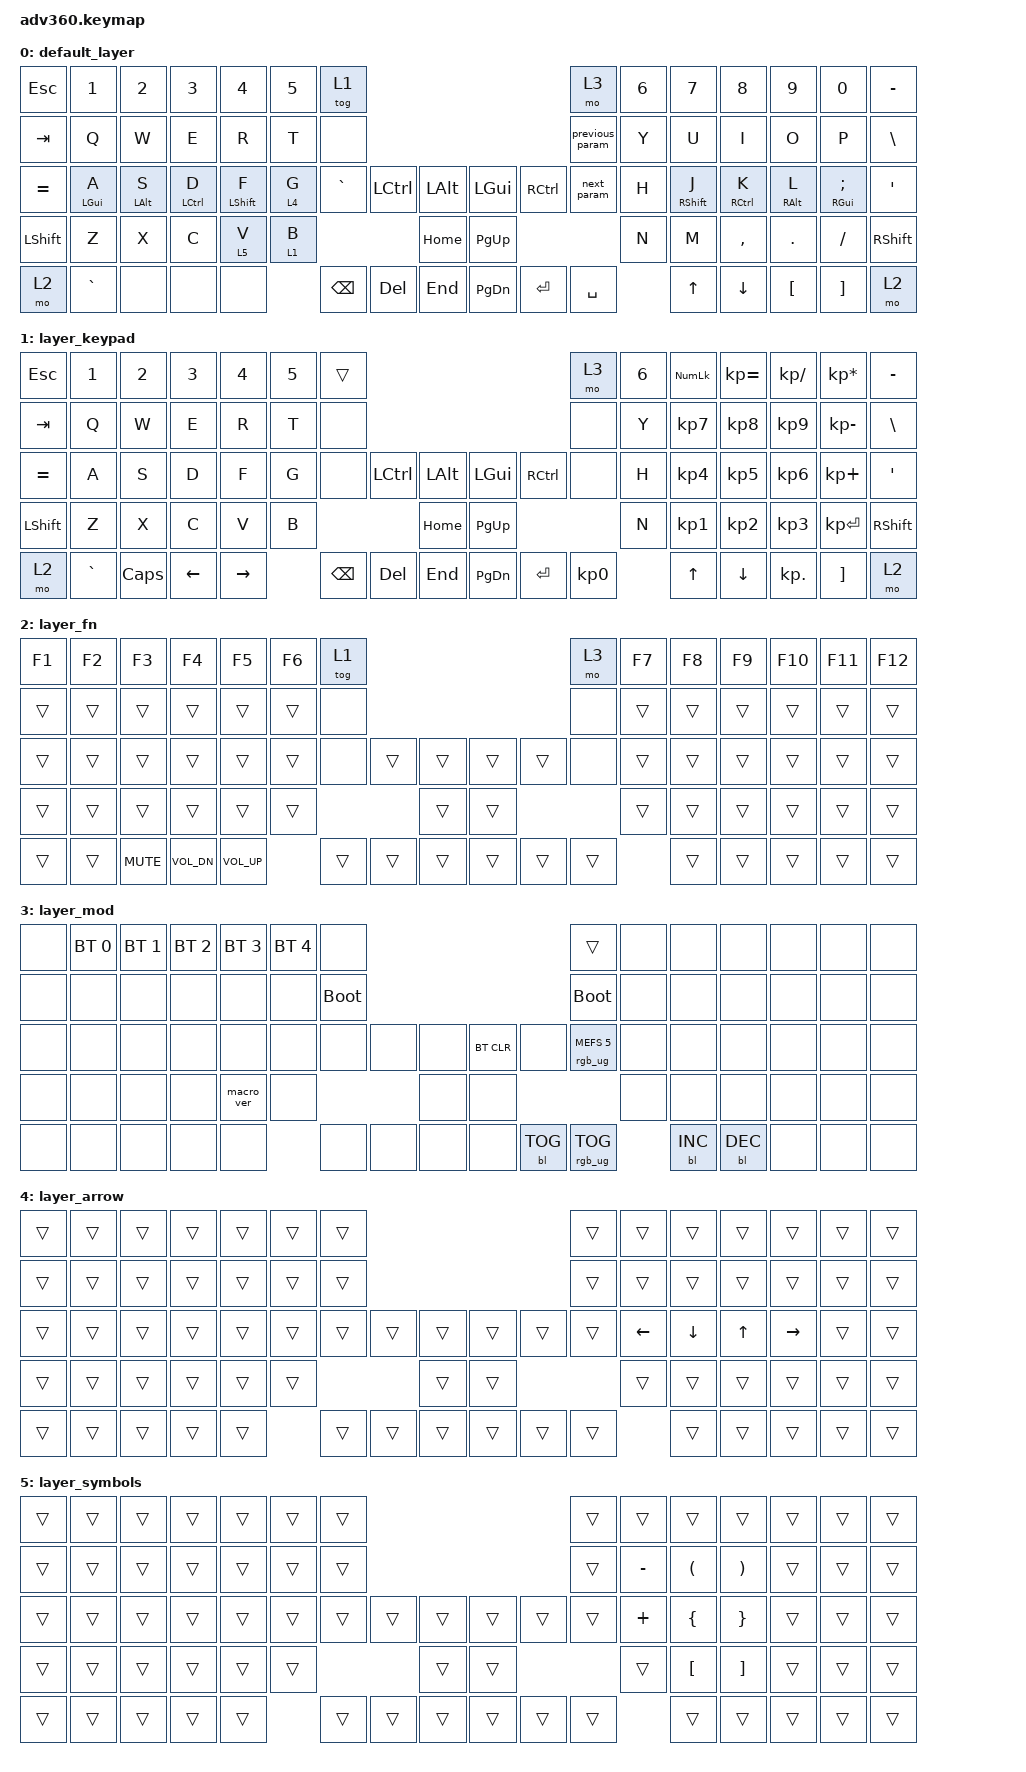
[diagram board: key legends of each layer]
/*
 * Copyright (c) 2020 The ZMK Contributors
 *
 * SPDX-License-Identifier: MIT
 */
/* THIS FILE WAS GENERATED!
 *
 * This file was generated automatically. You may or may not want to
 * edit it directly.
 */

#include <behaviors.dtsi>
#include <dt-bindings/zmk/backlight.h>
#include <dt-bindings/zmk/bt.h>
#include <dt-bindings/zmk/keys.h>
#include <dt-bindings/zmk/rgb.h>

/ {
    behaviors {
        #include "macros.dtsi"
    #include "version.dtsi"

        hm: homerow_mods {
            compatible = "zmk,behavior-hold-tap";
            label = "HOMEROW_MODS";
            #binding-cells = <2>;
            tapping-term-ms = <200>;
            quick_tap_ms = <175>;
            flavor = "tap-preferred";
            bindings = <&kp>, <&kp>;
        };
    };

    macros {
        next_param: next_param {
            compatible = "zmk,behavior-macro";
            #binding-cells = <0>;
            bindings = <&kp RIGHT_BRACKET &kp P>;
            label = "NEXT_PARAM";
        };

        previous_param: previous_param {
            compatible = "zmk,behavior-macro";
            #binding-cells = <0>;
            bindings = <&kp LEFT_BRACKET &kp P>;
            label = "PREVIOUS_PARAM";
        };
    };

    combos {
        compatible = "zmk,combos";

        caps_lock {
            bindings = <&caps_word>;
            key-positions = <32 41>;
        };

        left-parenthesis {
            bindings = <&kp LEFT_PARENTHESIS>;
            key-positions = <23 24>;
        };

        right-parenthesis {
            bindings = <&kp RIGHT_PARENTHESIS>;
            key-positions = <24 25>;
        };

        left-bracket {
            bindings = <&kp LEFT_BRACKET>;
            key-positions = <56 55>;
        };

        right-bracket {
            bindings = <&kp RIGHT_BRACKET>;
            key-positions = <56 57>;
        };

        left-brace {
            bindings = <&kp LEFT_BRACE>;
            key-positions = <41 42>;
        };

        right-brace {
            bindings = <&kp RIGHT_BRACE>;
            key-positions = <42 43>;
        };

        left-chevron {
            bindings = <&kp LESS_THAN>;
            key-positions = <71 72>;
        };

        right-chevron {
            bindings = <&kp GREATER_THAN>;
            key-positions = <72 73>;
        };
    };

    keymap {
        compatible = "zmk,keymap";

        default_layer {
            bindings = <
&kp ESC    &kp N1          &kp N2          &kp N3       &kp N4            &kp N5   &tog 1                                                    &mo 3            &kp N6  &kp N7             &kp N8       &kp N9           &kp N0              &kp MINUS
&kp TAB    &kp Q           &kp W           &kp E        &kp R             &kp T    &none                                                     &previous_param  &kp Y   &kp U              &kp I        &kp O            &kp P               &kp BSLH
&kp EQUAL  &hm LEFT_GUI A  &hm LEFT_ALT S  &hm LCTRL D  &hm LEFT_SHIFT F  &lt 4 G  &kp GRAVE  &kp LCTRL  &kp LALT      &kp LGUI   &kp RCTRL  &next_param      &kp H   &hm RIGHT_SHIFT J  &hm RCTRL K  &hm RIGHT_ALT L  &hm RIGHT_GUI SEMI  &kp SQT
&kp LSHFT  &kp Z           &kp X           &kp C        &lt 5 V           &lt 1 B                        &kp HOME      &kp PG_UP                              &kp N   &kp M              &kp COMMA    &kp DOT          &kp FSLH            &kp RSHFT
&mo 2      &kp GRAVE       &none           &none        &none                      &kp BSPC   &kp DEL    &kp END       &kp PG_DN  &kp ENTER  &kp SPACE                &kp UP             &kp DOWN     &kp LBKT         &kp RBKT            &mo 2
            >;
        };

        layer_keypad {
            bindings = <
&kp ESC    &kp N1     &kp N2    &kp N3    &kp N4     &kp N5  &trans                                                   &mo 3      &kp N6  &kp KP_NUM  &kp KP_EQUAL  &kp KP_DIVIDE  &kp KP_MULTIPLY  &kp MINUS
&kp TAB    &kp Q      &kp W     &kp E     &kp R      &kp T   &none                                                    &none      &kp Y   &kp KP_N7   &kp KP_N8     &kp KP_N9      &kp KP_MINUS     &kp BSLH
&kp EQUAL  &kp A      &kp S     &kp D     &kp F      &kp G   &none     &kp LCTRL  &kp LALT      &kp LGUI   &kp RCTRL  &none      &kp H   &kp KP_N4   &kp KP_N5     &kp KP_N6      &kp KP_PLUS      &kp SQT
&kp LSHFT  &kp Z      &kp X     &kp C     &kp V      &kp B                        &kp HOME      &kp PG_UP                        &kp N   &kp KP_N1   &kp KP_N2     &kp KP_N3      &kp KP_ENTER     &kp RSHFT
&mo 2      &kp GRAVE  &kp CAPS  &kp LEFT  &kp RIGHT          &kp BSPC  &kp DEL    &kp END       &kp PG_DN  &kp ENTER  &kp KP_N0          &kp UP      &kp DOWN      &kp KP_DOT     &kp RBKT         &mo 2
            >;
        };

        layer_fn {
            bindings = <
&kp F1  &kp F2  &kp F3      &kp F4        &kp F5        &kp F6  &tog 1                                      &mo 3   &kp F7  &kp F8  &kp F9  &kp F10  &kp F11  &kp F12
&trans  &trans  &trans      &trans        &trans        &trans  &none                                       &none   &trans  &trans  &trans  &trans   &trans   &trans
&trans  &trans  &trans      &trans        &trans        &trans  &none   &trans  &trans      &trans  &trans  &none   &trans  &trans  &trans  &trans   &trans   &trans
&trans  &trans  &trans      &trans        &trans        &trans                  &trans      &trans                  &trans  &trans  &trans  &trans   &trans   &trans
&trans  &trans  &kp C_MUTE  &kp C_VOL_DN  &kp C_VOL_UP          &trans  &trans  &trans      &trans  &trans  &trans          &trans  &trans  &trans   &trans   &trans
            >;
        };

        layer_mod {
            bindings = <
&none  &bt BT_SEL 0  &bt BT_SEL 1  &bt BT_SEL 2  &bt BT_SEL 3  &bt BT_SEL 4  &none                                                  &trans                  &none  &none       &none       &none  &none  &none
&none  &none         &none         &none         &none         &none         &bootloader                                            &bootloader             &none  &none       &none       &none  &none  &none
&none  &none         &none         &none         &none         &none         &none        &none  &none      &bt BT_CLR  &none       &rgb_ug RGB_MEFS_CMD 5  &none  &none       &none       &none  &none  &none
&none  &none         &none         &none         &macro_ver    &none                             &none      &none                                           &none  &none       &none       &none  &none  &none
&none  &none         &none         &none         &none                       &none        &none  &none      &none       &bl BL_TOG  &rgb_ug RGB_TOG                &bl BL_INC  &bl BL_DEC  &none  &none  &none
            >;
        };

        layer_arrow {
            bindings = <
&trans  &trans  &trans  &trans  &trans  &trans  &trans                                      &trans  &trans          &trans          &trans        &trans           &trans  &trans
&trans  &trans  &trans  &trans  &trans  &trans  &trans                                      &trans  &trans          &trans          &trans        &trans           &trans  &trans
&trans  &trans  &trans  &trans  &trans  &trans  &trans  &trans  &trans      &trans  &trans  &trans  &kp LEFT_ARROW  &kp DOWN_ARROW  &kp UP_ARROW  &kp RIGHT_ARROW  &trans  &trans
&trans  &trans  &trans  &trans  &trans  &trans                  &trans      &trans                  &trans          &trans          &trans        &trans           &trans  &trans
&trans  &trans  &trans  &trans  &trans          &trans  &trans  &trans      &trans  &trans  &trans                  &trans          &trans        &trans           &trans  &trans
            >;
        };

        layer_symbols {
            bindings = <
&trans  &trans  &trans  &trans  &trans  &trans  &trans                                      &trans  &trans     &trans                &trans                 &trans  &trans  &trans
&trans  &trans  &trans  &trans  &trans  &trans  &trans                                      &trans  &kp MINUS  &kp LEFT_PARENTHESIS  &kp RIGHT_PARENTHESIS  &trans  &trans  &trans
&trans  &trans  &trans  &trans  &trans  &trans  &trans  &trans  &trans      &trans  &trans  &trans  &kp PLUS   &kp LEFT_BRACE        &kp RIGHT_BRACE        &trans  &trans  &trans
&trans  &trans  &trans  &trans  &trans  &trans                  &trans      &trans                  &trans     &kp LEFT_BRACKET      &kp RIGHT_BRACKET      &trans  &trans  &trans
&trans  &trans  &trans  &trans  &trans          &trans  &trans  &trans      &trans  &trans  &trans             &trans                &trans                 &trans  &trans  &trans
            >;
        };
    };
};
